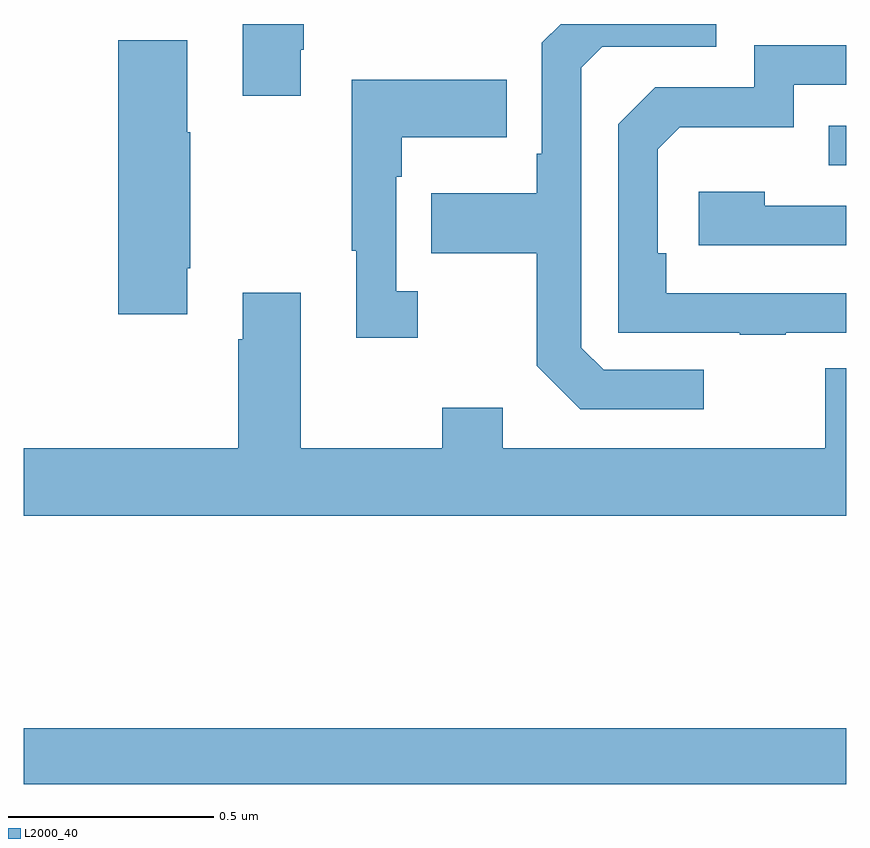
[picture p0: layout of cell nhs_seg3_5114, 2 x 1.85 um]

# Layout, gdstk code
import gdstk
lib = gdstk.Library(unit=1e-6, precision=1e-09)
def R(c, l, rs):  # rectangles x0, y0, x1, y1
    for r in rs: c.add(gdstk.rectangle(r[:2], r[2:], *l))
def P(c, l, *ps):  # polygons
    for p in ps: c.add(gdstk.Polygon(p, *l))
L2000_40 = (2000, 40)

nhs_seg3_5114 = lib.new_cell('nhs_seg3_5114')
R(nhs_seg3_5114, L2000_40, [(174,745.552,176,745.688), (175.957,747.057,176,747.153)])
P(nhs_seg3_5114, L2000_40, [(174.673,747.337),(174.681,747.337),(174.681,747.4),(174.533,747.4),(174.533,747.225),(174.673,747.225)],
  [(175.654,746.559),(175.41,746.559),(175.356,746.613),(175.356,747.294),(175.407,747.345),(175.684,747.345),(175.684,747.4),(175.306,747.4),(175.26,747.354),(175.26,747.085),(175.248,747.085),(175.248,746.989),(174.991,746.989),(174.991,746.842),(175.248,746.842),(175.248,746.569),(175.353,746.463),(175.654,746.463)],
  [(174.397,746.806),(174.405,746.806),(174.405,747.137),(174.397,747.137),(174.397,747.361),(174.23,747.361),(174.23,746.694),(174.397,746.694)],
  [(175.853,746.649),(176,746.649),(176,746.745),(175.562,746.745),(175.562,746.842),(175.542,746.842),(175.542,747.096),(175.595,747.149),(175.872,747.149),(175.872,747.252),(176,747.252),(176,747.348),(175.776,747.348),(175.776,747.246),(175.536,747.246),(175.446,747.156),(175.446,746.649),(175.741,746.649),(175.741,746.644),(175.853,746.644)],
  [(174.958,746.75),(174.906,746.75),(174.906,747.029),(174.919,747.029),(174.919,747.125),(175.175,747.125),(175.175,747.265),(174.798,747.265),(174.798,746.849),(174.809,746.849),(174.809,746.637),(174.958,746.637)],
  [(176,746.958),(175.802,746.958),(175.802,746.992),(175.641,746.992),(175.641,746.862),(176,746.862)],
  [(176,746.563),(175.949,746.563),(175.949,746.368),(175.165,746.368),(175.165,746.467),(175.018,746.467),(175.018,746.368),(174.673,746.368),(174.673,746.746),(174.533,746.746),(174.533,746.633),(174.521,746.633),(174.521,746.368),(174,746.368),(174,746.204),(176,746.204)])

lib.write_gds('nhs_seg3_5114.gds')
